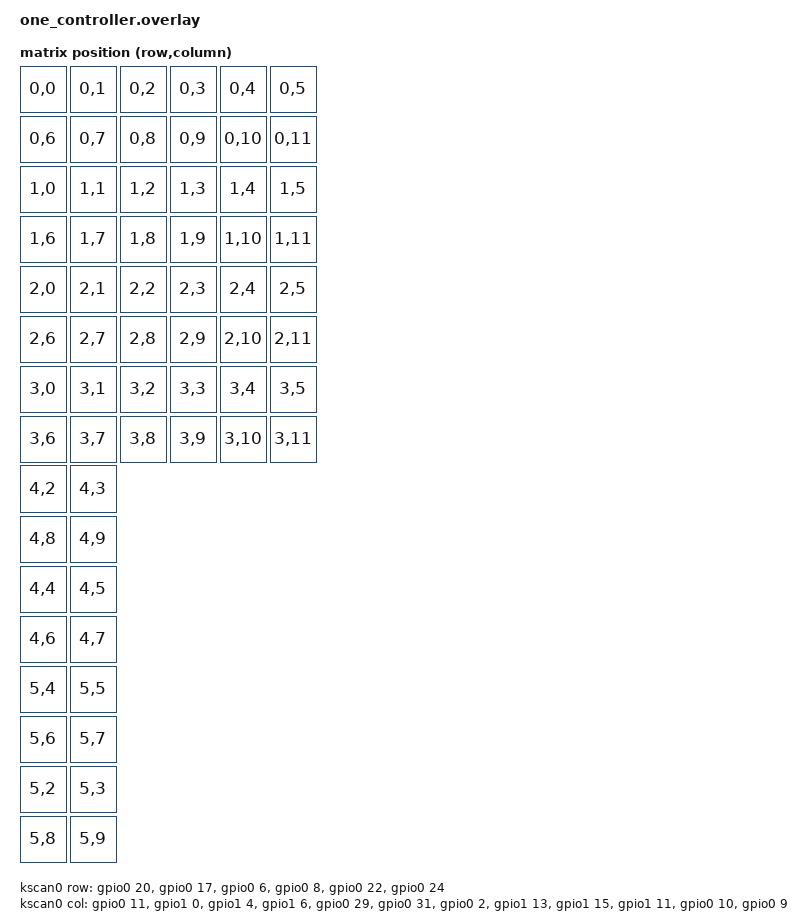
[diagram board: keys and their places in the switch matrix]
#include <dt-bindings/zmk/matrix_transform.h>
#include "one_controller-layouts.dtsi"

/ {
    chosen {
      zmk,kscan = &kscan0;
      zmk,physical-layout = &physical_layout0;
    };

    /* Matrix scan (6x12), diode direction COL2ROW */
    kscan0: kscan0 {
        compatible = "zmk,kscan-gpio-matrix";
        diode-direction = "col2row";
        wakeup-source;

        /* Columns are outputs for col2row */
col-gpios = <
    &gpio0 11 GPIO_ACTIVE_HIGH  /* P0.11 */
    &gpio1 0  GPIO_ACTIVE_HIGH  /* P1.00 */
    &gpio1 4  GPIO_ACTIVE_HIGH  /* P1.04 */
    &gpio1 6  GPIO_ACTIVE_HIGH  /* P1.06  (MOVED: was P0.24) */
    &gpio0 29 GPIO_ACTIVE_HIGH  /* P0.29 */
    &gpio0 31 GPIO_ACTIVE_HIGH  /* P0.31 */
    &gpio0 2  GPIO_ACTIVE_HIGH  /* P0.02 */
    &gpio1 13 GPIO_ACTIVE_HIGH  /* P1.13 */
    &gpio1 15 GPIO_ACTIVE_HIGH  /* P1.15 */
    &gpio1 11 GPIO_ACTIVE_HIGH  /* P1.11 */
    &gpio0 10 GPIO_ACTIVE_HIGH  /* P0.10 */
    &gpio0 9  GPIO_ACTIVE_HIGH  /* P0.09 */
>;

/* Rows are inputs for col2row */
row-gpios = <
    &gpio0 20 (GPIO_ACTIVE_HIGH | GPIO_PULL_DOWN) /* P0.20 */
    &gpio0 17 (GPIO_ACTIVE_HIGH | GPIO_PULL_DOWN) /* P0.17 */
    &gpio0 6  (GPIO_ACTIVE_HIGH | GPIO_PULL_DOWN) /* P0.06 */
    &gpio0 8  (GPIO_ACTIVE_HIGH | GPIO_PULL_DOWN) /* P0.08 */
    &gpio0 22 (GPIO_ACTIVE_HIGH | GPIO_PULL_DOWN) /* P0.22 */
    &gpio0 24 (GPIO_ACTIVE_HIGH | GPIO_PULL_DOWN) /* P0.24 */
>;

        /* QMK DEBOUNCE 5ms -> ZMK per-driver debounce */
        debounce-press-ms = <10>;
        debounce-release-ms = <10>;
    };

    /*
     * Matrix transform:
     * Your keyboard.json defines 64 keys (not a full 6x12 = 72 grid).
     * This transform makes your keymap only have 64 positions, in the exact
     * same order as the JSON "layout" list.
     */
    matrix_transform: matrix_transform {
        compatible = "zmk,matrix-transform";
        rows = <6>;
        columns = <12>;
        map = <
            /* LEFT MAIN GRID: rows 0-1, cols 0-11 */
            RC(0,0)  RC(0,1)  RC(0,2)  RC(0,3)  RC(0,4)  RC(0,5)
            RC(0,6)  RC(0,7)  RC(0,8)  RC(0,9)  RC(0,10) RC(0,11)

            RC(1,0)  RC(1,1)  RC(1,2)  RC(1,3)  RC(1,4)  RC(1,5)
            RC(1,6)  RC(1,7)  RC(1,8)  RC(1,9)  RC(1,10) RC(1,11)

            /* RIGHT MAIN GRID: rows 2-3, cols 0-11 */
            RC(2,0)  RC(2,1)  RC(2,2)  RC(2,3)  RC(2,4)  RC(2,5)
            RC(2,6)  RC(2,7)  RC(2,8)  RC(2,9)  RC(2,10) RC(2,11)

            RC(3,0)  RC(3,1)  RC(3,2)  RC(3,3)  RC(3,4)  RC(3,5)
            RC(3,6)  RC(3,7)  RC(3,8)  RC(3,9)  RC(3,10) RC(3,11)

            /* THUMBS / EXTRA per your JSON ordering */
            RC(4,2)  RC(4,3)
            RC(4,8)  RC(4,9)

            RC(4,4)  RC(4,5)
            RC(4,6)  RC(4,7)

            RC(5,4)  RC(5,5)
            RC(5,6)  RC(5,7)

            RC(5,2)  RC(5,3)
            RC(5,8)  RC(5,9)
        >;
    };
};
